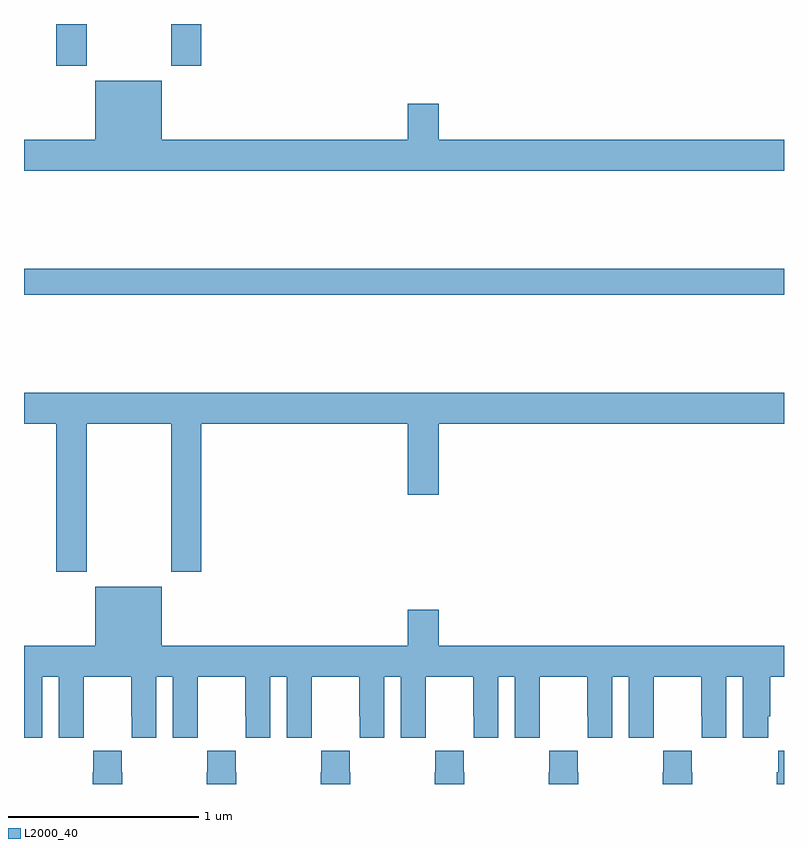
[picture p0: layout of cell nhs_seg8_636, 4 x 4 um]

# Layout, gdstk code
import gdstk
lib = gdstk.Library(unit=1e-6, precision=1e-09)
def R(c, l, rs):  # rectangles x0, y0, x1, y1
    for r in rs: c.add(gdstk.rectangle(r[:2], r[2:], *l))
def P(c, l, *ps):  # polygons
    for p in ps: c.add(gdstk.Polygon(p, *l))
L2000_40 = (2000, 40)

nhs_seg8_636 = lib.new_cell('nhs_seg8_636')
R(nhs_seg8_636, L2000_40, [(151,1154.476,155,1154.612), (151.169,1155.681,151.329,1155.9), (151.774,1155.681,151.934,1155.9)])
P(nhs_seg8_636, L2000_40, [(155,1155.292),(153.184,1155.292),(153.184,1155.481),(153.02,1155.481),(153.02,1155.292),(151.726,1155.292),(151.726,1155.601),(151.376,1155.601),(151.376,1155.292),(151,1155.292),(151,1155.128),(155,1155.128)],
  [(151.329,1153.796),(151.774,1153.796),(151.774,1153.017),(151.934,1153.017),(151.934,1153.796),(153.02,1153.796),(153.02,1153.422),(153.184,1153.422),(153.184,1153.796),(155,1153.796),(155,1153.96),(151,1153.96),(151,1153.796),(151.169,1153.796),(151.169,1153.017),(151.329,1153.017)],
  [(151.376,1152.628),(151,1152.628),(151,1152.144),(151.096,1152.144),(151.096,1152.464),(151.184,1152.464),(151.184,1152.144),(151.314,1152.144),(151.314,1152.256),(151.315,1152.256),(151.315,1152.464),(151.565,1152.464),(151.565,1152.256),(151.566,1152.256),(151.566,1152.144),(151.696,1152.144),(151.696,1152.464),(151.784,1152.464),(151.784,1152.144),(151.914,1152.144),(151.914,1152.256),(151.915,1152.256),(151.915,1152.464),(152.165,1152.464),(152.165,1152.256),(152.166,1152.256),(152.166,1152.144),(152.296,1152.144),(152.296,1152.464),(152.384,1152.464),(152.384,1152.144),(152.514,1152.144),(152.514,1152.256),(152.515,1152.256),(152.515,1152.464),(152.765,1152.464),(152.765,1152.256),(152.766,1152.256),(152.766,1152.144),(152.896,1152.144),(152.896,1152.464),(152.984,1152.464),(152.984,1152.144),(153.114,1152.144),(153.114,1152.256),(153.115,1152.256),(153.115,1152.464),(153.365,1152.464),(153.365,1152.256),(153.366,1152.256),(153.366,1152.144),(153.496,1152.144),(153.496,1152.464),(153.584,1152.464),(153.584,1152.144),(153.714,1152.144),(153.714,1152.256),(153.715,1152.256),(153.715,1152.464),(153.965,1152.464),(153.965,1152.256),(153.966,1152.256),(153.966,1152.144),(154.096,1152.144),(154.096,1152.464),(154.184,1152.464),(154.184,1152.144),(154.314,1152.144),(154.314,1152.256),(154.315,1152.256),(154.315,1152.464),(154.565,1152.464),(154.565,1152.256),(154.566,1152.256),(154.566,1152.144),(154.696,1152.144),(154.696,1152.464),(154.784,1152.464),(154.784,1152.144),(154.918,1152.144),(154.918,1152.256),(154.928,1152.256),(154.928,1152.464),(155,1152.464),(155,1152.628),(153.184,1152.628),(153.184,1152.817),(153.02,1152.817),(153.02,1152.628),(151.726,1152.628),(151.726,1152.937),(151.376,1152.937)],
  [(155,1152.076),(154.969,1152.076),(154.969,1151.963),(154.963,1151.963),(154.963,1151.9),(155,1151.9)],
  [(154.518,1151.963),(154.515,1151.963),(154.515,1152.076),(154.365,1152.076),(154.365,1151.963),(154.363,1151.963),(154.363,1151.9),(154.518,1151.9)],
  [(153.918,1151.963),(153.915,1151.963),(153.915,1152.076),(153.765,1152.076),(153.765,1151.963),(153.763,1151.963),(153.763,1151.9),(153.918,1151.9)],
  [(153.318,1151.963),(153.315,1151.963),(153.315,1152.076),(153.165,1152.076),(153.165,1151.963),(153.163,1151.963),(153.163,1151.9),(153.318,1151.9)],
  [(152.718,1151.963),(152.715,1151.963),(152.715,1152.076),(152.565,1152.076),(152.565,1151.963),(152.563,1151.963),(152.563,1151.9),(152.718,1151.9)],
  [(151.518,1151.963),(151.515,1151.963),(151.515,1152.076),(151.365,1152.076),(151.365,1151.963),(151.363,1151.963),(151.363,1151.9),(151.518,1151.9)],
  [(152.118,1151.963),(152.115,1151.963),(152.115,1152.076),(151.965,1152.076),(151.965,1151.963),(151.963,1151.963),(151.963,1151.9),(152.118,1151.9)])

lib.write_gds('nhs_seg8_636.gds')
